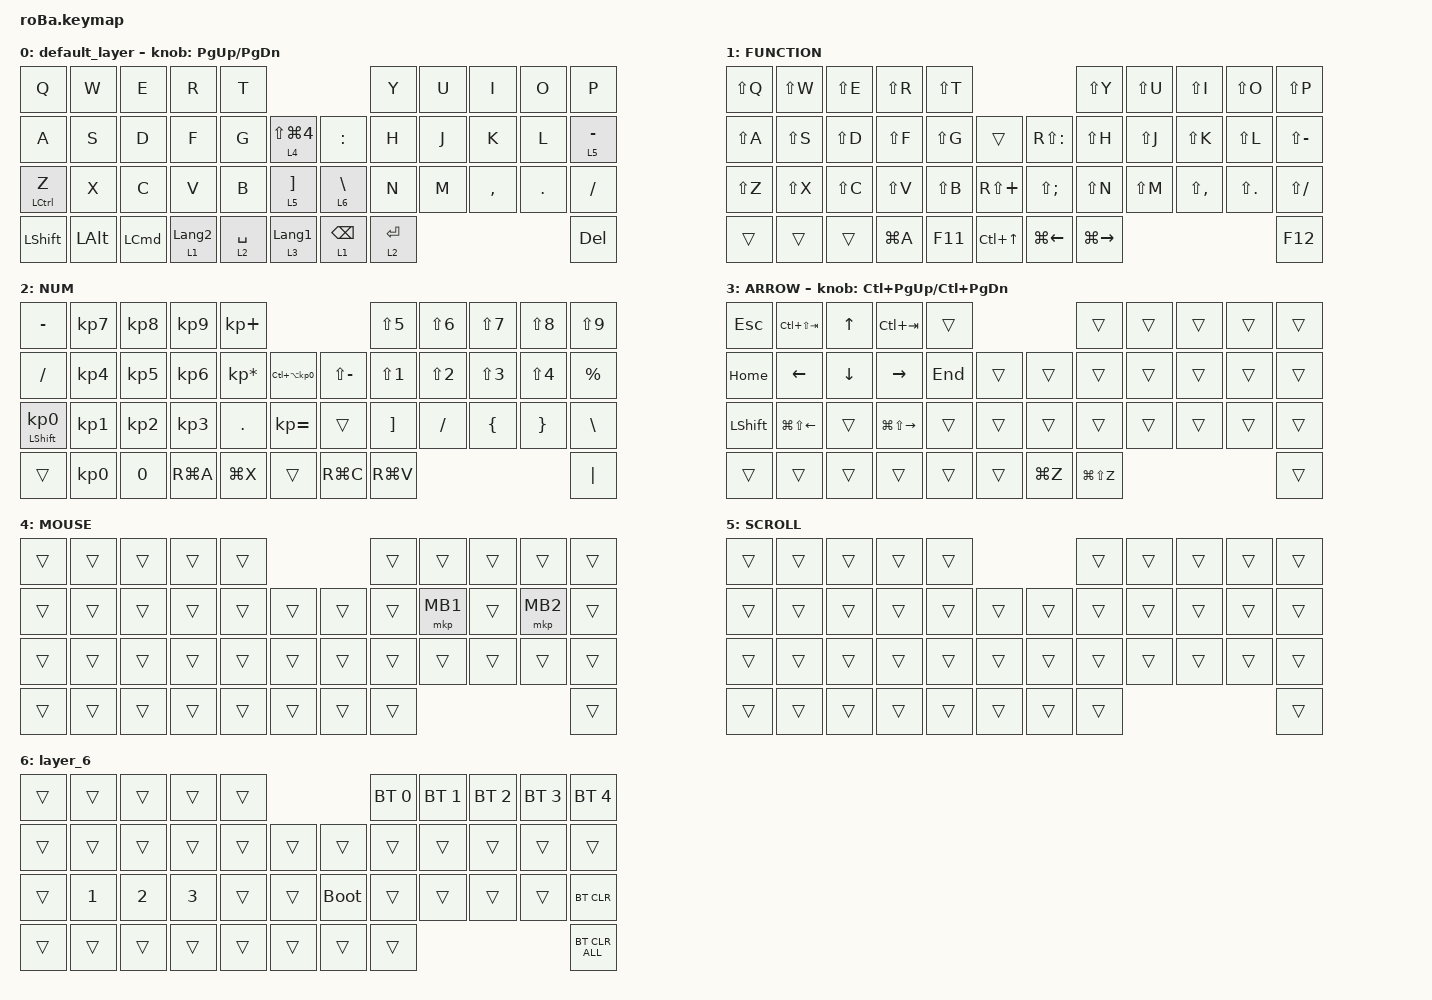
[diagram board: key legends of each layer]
#include <behaviors.dtsi>
#include <dt-bindings/zmk/bt.h>
#include <dt-bindings/zmk/keys.h>
#include <dt-bindings/zmk/mouse.h>

#define MOUSE 4
#define SCROLL 5
#define NUM 6

&mt {
    flavor = "balanced";
    quick-tap-ms = <0>;
};

/ {
    combos {
        compatible = "zmk,combos";

        tab {
            bindings = <&kp TAB>;
            key-positions = <11 12>;
        };

        shift_tab {
            bindings = <&kp LS(TAB)>;
            key-positions = <12 13>;
        };

        muhennkann {
            bindings = <&to_layer_0 INT_MUHENKAN>;
            key-positions = <11 10>;
        };

        double_quotation {
            bindings = <&kp DOUBLE_QUOTES>;
            key-positions = <20 21>;
        };

        eq {
            bindings = <&kp EQUAL>;
            key-positions = <24 25>;
        };
    };

    macros {
        to_layer_0: to_layer_0 {
            compatible = "zmk,behavior-macro-one-param";
            #binding-cells = <1>;
            bindings = <&to 0 &macro_param_1to1 &kp MACRO_PLACEHOLDER>;
            label = "TO_LAYER_0";
        };

        layer5: layer5 {
            compatible = "zmk,behavior-macro";
            #binding-cells = <0>;
            bindings = <&to 5>, <&macro_press>, <&kp N5>;

            label = "LAYER5";
        };
    };

    behaviors {
        lt_to_layer_0: lt_to_layer_0 {
            compatible = "zmk,behavior-hold-tap";
            label = "LAYER_TAP_TO_0";
            bindings = <&mo>, <&to_layer_0>;

            #binding-cells = <2>;
            tapping-term-ms = <200>;
        };
    };

    keymap {
        compatible = "zmk,keymap";

        default_layer {
            bindings = <
&kp Q               &kp W         &kp E             &kp R                        &kp T                                                                   &kp Y        &kp U  &kp I      &kp O    &kp P
&kp A               &kp S         &kp D             &kp F                        &kp G        &lt 4 LS(LG(NUMBER_4))         &kp COLON                   &kp H        &kp J  &kp K      &kp L    &lt 5 MINUS
&mt LEFT_CONTROL Z  &kp X         &kp C             &kp V                        &kp B        &lt 5 RIGHT_BRACKET            &lt 6 BACKSLASH             &kp N        &kp M  &kp COMMA  &kp DOT  &kp SLASH
&kp LEFT_SHIFT      &kp LEFT_ALT  &kp LEFT_COMMAND  &lt_to_layer_0 1 LANGUAGE_2  &lt 2 SPACE  &lt_to_layer_0 3 LANGUAGE_1    &lt_to_layer_0 1 BACKSPACE  &lt 2 ENTER                             &kp DEL
            >;

            sensor-bindings = <&inc_dec_kp PG_UP PAGE_DOWN>;
        };

        FUNCTION {
            bindings = <
&kp LS(Q)  &kp LS(W)  &kp LS(E)  &kp LS(R)  &kp LS(T)                                         &kp LS(Y)      &kp LS(U)  &kp LS(I)      &kp LS(O)       &kp LS(P)
&kp LS(A)  &kp LS(S)  &kp LS(D)  &kp LS(F)  &kp LS(G)  &trans              &kp RS(COLON)      &kp LS(H)      &kp LS(J)  &kp LS(K)      &kp LS(L)       &kp LS(MINUS)
&kp LS(Z)  &kp LS(X)  &kp LS(C)  &kp LS(V)  &kp LS(B)  &kp RS(PLUS)        &kp LS(SEMICOLON)  &kp LS(N)      &kp LS(M)  &kp LS(COMMA)  &kp LS(PERIOD)  &kp LS(SLASH)
&trans     &trans     &trans     &kp LG(A)  &kp F11    &kp LC(UP_ARROW)    &kp LG(LEFT)       &kp LG(RIGHT)                                            &kp F12
            >;
        };

        NUM {
            bindings = <
&kp MINUS                   &kp KP_NUMBER_7  &kp KP_NUMBER_8  &kp KP_NUMBER_9  &kp KP_PLUS                                                &kp LS(NUMBER_5)   &kp LS(N6)        &kp LS(NUMBER_7)  &kp LS(NUMBER_8)  &kp LS(NUMBER_9)
&kp SLASH                   &kp KP_NUMBER_4  &kp KP_NUMBER_5  &kp KP_NUMBER_6  &kp KP_ASTERISK  &kp LC(LA(KP_NUMBER_0))    &kp LS(MINUS)  &kp LS(N1)         &kp LS(NUMBER_2)  &kp LS(NUMBER_3)  &kp LS(NUMBER_4)  &kp PERCENT
&mt LEFT_SHIFT KP_NUMBER_0  &kp KP_NUMBER_1  &kp KP_NUMBER_2  &kp KP_NUMBER_3  &kp PERIOD       &kp KP_EQUAL               &trans         &kp RIGHT_BRACKET  &kp SLASH         &kp LEFT_BRACE    &kp RIGHT_BRACE   &kp BACKSLASH
&trans                      &kp KP_NUMBER_0  &kp NUMBER_0     &kp RG(A)        &kp LG(X)        &trans                     &kp RG(C)      &kp RG(V)                                                                &kp PIPE
            >;
        };

        ARROW {
            bindings = <
&kp ESCAPE      &kp LC(LS(TAB))         &kp UP_ARROW    &kp LC(TAB)              &trans                        &trans         &trans  &trans  &trans  &trans
&kp HOME        &kp LEFT_ARROW          &kp DOWN_ARROW  &kp RIGHT_ARROW          &kp END  &trans    &trans     &trans         &trans  &trans  &trans  &trans
&kp LEFT_SHIFT  &kp LG(LS(LEFT_ARROW))  &trans          &kp LG(LS(RIGHT_ARROW))  &trans   &trans    &trans     &trans         &trans  &trans  &trans  &trans
&trans          &trans                  &trans          &trans                   &trans   &trans    &kp LG(Z)  &kp LG(LS(Z))                          &trans
            >;

            sensor-bindings = <&inc_dec_kp LC(PAGE_UP) LC(PAGE_DOWN)>;
        };

        MOUSE {
            bindings = <
&trans  &trans  &trans  &trans  &trans                    &trans  &trans    &trans  &trans    &trans
&trans  &trans  &trans  &trans  &trans  &trans    &trans  &trans  &mkp MB1  &trans  &mkp MB2  &trans
&trans  &trans  &trans  &trans  &trans  &trans    &trans  &trans  &trans    &trans  &trans    &trans
&trans  &trans  &trans  &trans  &trans  &trans    &trans  &trans                              &trans
            >;
        };

        SCROLL {
            bindings = <
&trans  &trans  &trans  &trans  &trans                    &trans  &trans  &trans  &trans  &trans
&trans  &trans  &trans  &trans  &trans  &trans    &trans  &trans  &trans  &trans  &trans  &trans
&trans  &trans  &trans  &trans  &trans  &trans    &trans  &trans  &trans  &trans  &trans  &trans
&trans  &trans  &trans  &trans  &trans  &trans    &trans  &trans                          &trans
            >;
        };

        layer_6 {
            bindings = <
&trans  &trans        &trans        &trans        &trans                         &bt BT_SEL 0  &bt BT_SEL 1  &bt BT_SEL 2  &bt BT_SEL 3  &bt BT_SEL 4
&trans  &trans        &trans        &trans        &trans  &trans    &trans       &trans        &trans        &trans        &trans        &trans
&trans  &kp NUMBER_1  &kp NUMBER_2  &kp NUMBER_3  &trans  &trans    &bootloader  &trans        &trans        &trans        &trans        &bt BT_CLR
&trans  &trans        &trans        &trans        &trans  &trans    &trans       &trans                                                  &bt BT_CLR_ALL
            >;
        };
    };

    conditional_layers {
        compatible = "zmk,conditional-layers";

        layer4 {
            if-layers = <4>;
            then-layer = <4>;
        };
    };
};
